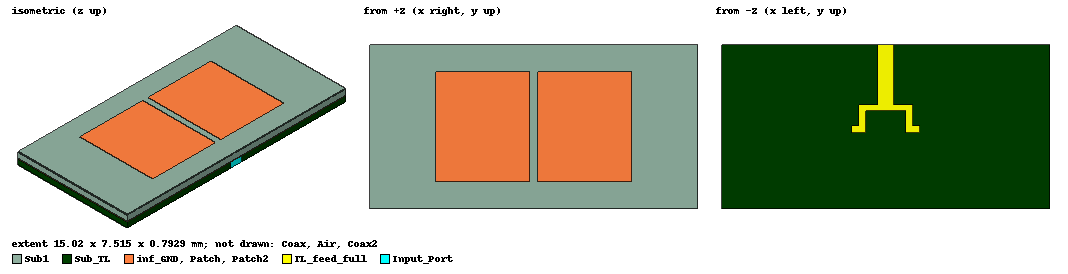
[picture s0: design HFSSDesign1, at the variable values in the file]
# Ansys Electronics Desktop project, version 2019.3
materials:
  vacuum: permittivity=1
  Rogers RT/duroid 5880 (tm): permittivity=2.2 dielectric_loss_tangent=0.0009
  pec: conductivity=1e+30
  Rogers RO4003 (tm): permittivity=3.55 dielectric_loss_tangent=0.0027

design HFSSDesign1 (HFSS, DrivenModal, model units mm)
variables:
  Lp = 4.330571087mm  # optimise 1mm..7mm
  Wp = 5.015234193mm  # optimise 1.4mm..7mm
  hs = 0.39905794mm  # optimise 0.05mm..2mm
  Ws = 7.515215462mm  # optimise 5mm..9mm
  Ls = 15.02233721mm  # optimise 12mm..16mm
  xsub = -Ls/2
  ysub = -Ws/2
  xfeed = 1.232164046mm  # optimise 0.8mm..2mm
  dp = 0.35608297mm  # optimise 0.1mm..2mm
  rcoax = 0.15610762mm  # optimise 0.08mm..0.24mm
  hcoax = 0.39381209mm  # optimise 0.1mm..2mm
  rprope = 0.07mm
  Lair = 0.01+Ls
  Wair = 0.01+Ws
  xair = Lair/2
  yair = Wair/2
  hair = 5mm
  yfeed = -0.10822552mm  # optimise -1.5mm..0.5mm
  xp = dp/2
  yp = -Wp/2
  hgnd = 0.031290997mm  # optimise 0.016mm..0.048mm
  hsubTL = hcoax
  WTLfeed = 0.77435097mm  # optimise 0.1mm..1.5mm
  LTLfeed = 2.742137761mm  # optimise 1.5mm..3.5mm
  LTL_hoz = 2.433481899mm  # optimise 1.5mm..3.5mm
  WTL_In = 0.2797146mm  # optimise 0.1mm..1mm
  Xroax = 2  # optimise 2..5
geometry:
  Sub1 [Rogers RO4003 (tm)] = box(corner=(xsub, ysub, 0mm), size=(Ls, Ws, hs))
  Patch [Rogers RT/duroid 5880 (tm)] = rectangle(corner=(xp, yp, hs), x_size=Lp, y_size=Wp)
  Coax [vacuum] = cylinder(axis=Z, base_centre=(xp+xfeed, yfeed, 0mm), radius=rcoax, height=-hcoax)
  Coax_Pin [pec] = cylinder(axis=Z, base_centre=(xp+xfeed, yfeed, 0mm), radius=rprope, height=-hcoax)
  Prope [pec] = cylinder(axis=Z, base_centre=(xp+xfeed, yfeed, 0mm), radius=rprope, height=hs)
  Air [vacuum] = box(corner=(-xair, -yair, 0), size=(Lair, Wair, hair))
  Patch2 = rectangle(corner=(xp-Lp-dp, yp, hs), x_size=Lp, y_size=Wp)
  Coax2 [vacuum] = cylinder(axis=Z, base_centre=(-(xp+xfeed), yfeed, 0mm), radius=rcoax, height=-hcoax)
  Coax_Pin2 [pec] = cylinder(axis=Z, base_centre=(-(xp+xfeed), yfeed, 0mm), radius=rprope, height=-hcoax)
  Prope2 [pec] = cylinder(axis=Z, base_centre=(-(xp+xfeed), yfeed, 0mm), radius=rprope, height=hs)
  inf_GND [pec] = box(corner=(xsub, ysub, 0mm), size=(Ls, Ws, -hgnd))
  Cylinder_cut_2 = cylinder(axis=Z, base_centre=(-(xp+xfeed), yfeed, 0), radius=rcoax, height=-hgnd)
  Cylinder_cut_1 = cylinder(axis=Z, base_centre=(xp+xfeed, yfeed, 0), radius=rcoax, height=-hgnd)
  inf_GND.subtract(Cylinder_cut_1)
  inf_GND.subtract(Cylinder_cut_2)
  Sub_TL [Rogers RO4003 (tm)] = box(corner=(xsub, ysub, 0mm), size=(Ls, Ws, -hsubTL))
  Input_Port = rectangle(corner=(-WTLfeed/2, Ws/2, -hsubTL), z_size=hsubTL-hgnd, x_size=WTLfeed)
  TL_feed_full = rectangle(corner=(-WTLfeed/2, Ws/2, -hsubTL), x_size=WTLfeed, y_size=-LTLfeed)
  TL_hoz = rectangle(corner=(LTL_hoz/2, Ws/2-LTLfeed, -hsubTL), x_size=-LTL_hoz, y_size=-WTL_In)
  TL1_Ver_Inter = rectangle(corner=(LTL_hoz/2, Ws/2-LTLfeed -WTL_In, -hsubTL), x_size=-WTL_In, y_size=(yfeed-Xroax*rcoax/2)-(Ws/2-LTLfeed -WTL_In-Xroax*rcoax))
  TL2_Ver_Inter = rectangle(corner=(-LTL_hoz/2, Ws/2-LTLfeed -WTL_In, -hsubTL), x_size=WTL_In, y_size=(yfeed-Xroax*rcoax/2)-(Ws/2-LTLfeed -WTL_In-Xroax*rcoax))
  TL1_in_Coax = rectangle(corner=(-(-LTL_hoz/2+WTL_In), yfeed-Xroax*rcoax/2, -hsubTL), x_size=(-LTL_hoz/2+WTL_In)+(xp+xfeed)+Xroax*rcoax/2, y_size=Xroax*rcoax)
  TL_feed_full.unite(TL_hoz)
  TL2_In_Coax = rectangle(corner=(-LTL_hoz/2+WTL_In, yfeed-Xroax*rcoax/2, -hsubTL), x_size=-(-LTL_hoz/2+WTL_In)-(xp+xfeed)-Xroax*rcoax/2, y_size=Xroax*rcoax)
  TL_feed_full.unite(TL1_in_Coax)
  TL_feed_full.unite(TL1_Ver_Inter)
  TL_feed_full.unite(TL2_In_Coax)
  TL_feed_full.unite(TL2_Ver_Inter)
  group Input_feed1 = Coax, Coax_Pin, Prope
  group Input_feed2 = Coax2, Coax_Pin2, Prope2
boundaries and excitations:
  PerfE_Patch: Perfect E Objects=Patch
  Rad1: Radiation Faces=Air.face(+x, +y, -y, -x, +z)
  PerfE1: Perfect E Objects=Patch2
  PerfETL: Perfect E Objects=TL_feed_full
  1: Lumped Port Objects=Input_Port Modes{Mode1{IntLine{middle of Input_Port.edge(z at corner) -> middle of Input_Port.edge(z opposite corner)} CharImp=Zpi RenormImp=50ohm}} Impedance=50ohm
  reference conductors: inf_GND
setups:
  Setup1: HfssDriven Frequency=20GHz MaxDeltaS=0.02 MaximumPasses=18 MinimumPasses=1 MinimumConvergedPasses=1 PercentRefinement=30 BasisOrder=1 PortAccuracy=2
    sweep Sweep: 10GHz to 30GHz step 0.1GHz; Type=Fast SaveFields SaveRadFields GenerateFieldsForAllFreqs
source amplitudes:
  1:1: 1W 0deg
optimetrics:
  OptimizationSetup1: Optimization Optimizer="Quasi Newton" AnalysisStopOptions{StopForNumIteration MaxNumIteration=1000 MinNumIteration=10} CostFuncNormType=L2 Acceptable_Cost=0 Noise=0.0001 UpdateDesignWhenDone
    vary LTL_hoz: Min=1.5mm Max=3.5mm MinStep=0.02432292mm MaxStep=0.2432292mm MinFocus=1.5mm MaxFocus=3.5mm start=2.430367425mm
    vary LTLfeed: Min=1.5mm Max=3.5mm MinStep=0.02728412mm MaxStep=0.2728412mm MinFocus=1.5mm MaxFocus=3.5mm start=2.741436512mm
    vary Lp: Min=1.4mm Max=7mm MinStep=0.0368mm MaxStep=0.368mm MinFocus=1.4mm MaxFocus=7mm start=4.1mm
    vary Ls: Min=12mm Max=16mm MinStep=0.14846mm MaxStep=1.4846mm MinFocus=12mm MaxFocus=16mm start=14.9466269mm
    vary WTL_In: Min=0.1mm Max=1mm MinStep=0.0018mm MaxStep=0.018mm MinFocus=0.1mm MaxFocus=1mm start=0.27356695mm
    vary WTLfeed: Min=0.1mm Max=1.5mm MinStep=0.02mm MaxStep=0.2mm MinFocus=0.1mm MaxFocus=1.5mm start=0.65771145mm
    vary Wp: Min=1mm Max=7mm MinStep=0.0473mm MaxStep=0.473mm MinFocus=1mm MaxFocus=7mm start=4.97mm
    vary Ws: Min=5mm Max=9mm MinStep=0.07406mm MaxStep=0.7406mm MinFocus=5mm MaxFocus=9mm start=7.513757609mm
    vary Xroax: Min=2 Max=5 MinStep=0.02 MaxStep=0.2 MinFocus=2 MaxFocus=5 start=2
    vary dp: Min=0.1mm Max=2mm MinStep=0.0034383443mm MaxStep=0.034383443mm MinFocus=0.1mm MaxFocus=2mm start=0.35597862mm
    vary hcoax: Min=0.1mm Max=2mm MinStep=0.005mm MaxStep=0.05mm MinFocus=0.1mm MaxFocus=2mm start=0.423655274mm
    vary hgnd: Min=0.016mm Max=0.048mm MinStep=0.00032mm MaxStep=0.0032mm MinFocus=0.016mm MaxFocus=0.048mm start=0.032mm
    vary hs: Min=0.05mm Max=2mm MinStep=0.00406mm MaxStep=0.0406mm MinFocus=0.05mm MaxFocus=2mm start=0.406mm
    vary rcoax: Min=0.08mm Max=0.24mm MinStep=0.0016mm MaxStep=0.016mm MinFocus=0.08mm MaxFocus=0.24mm start=0.15786559mm
    vary xfeed: Min=0.8mm Max=2mm MinStep=0.012mm MaxStep=0.12mm MinFocus=0.8mm MaxFocus=2mm start=1.2mm
    vary yfeed: Min=-1.5mm Max=0.5mm MinStep=0.02mm MaxStep=0.2mm MinFocus=-1.5mm MaxFocus=0.5mm start=0mm
    goal dB(S(1,1)) <= -15 weight 1 on Setup1 : Sweep at Freq 20GHz
    goal dB(S(1,1)) >= -15 weight 1 on Setup1 : Sweep at Freq 19GHz
    goal dB(S(1,1)) >= -15 weight 1 on Setup1 : Sweep at Freq 21GHz
    goal mag(Z(1,1)) >= 20 weight 1 on Setup1 : Sweep at Freq 20GHz
    goal mag(Z(1,1)) <= 60 weight 1 on Setup1 : Sweep at Freq 20GHz
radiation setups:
  e_plane: Infinite Sphere Theta=-180deg..180deg step 2deg Phi=0deg..0deg step 1deg
  h_plane: Infinite Sphere Theta=-180deg..180deg step 2deg Phi=90deg..90deg step 1deg
  3d: Infinite Sphere Theta=-180deg..180deg step 2deg Phi=0deg..360deg step 2deg
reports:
  Eradation_pattern: abs(rETotal) vs Theta on Setup1 : LastAdaptive, e_plane [Phi=all Freq=20GHz]
  Hradation_pattern: abs(rETotal) vs Theta on Setup1 : LastAdaptive, h_plane [Phi=all Freq=20GHz]
  Co_X_graph: dB10normalize(GainPhi), dB10normalize(GainTheta) vs Theta on Setup1 : LastAdaptive, e_plane [Phi=0deg Freq=20GHz]
  Gain Plot 1: GainTotal vs Theta on Setup1 : LastAdaptive, e_plane [Phi=all Freq=20GHz]
  Gain Plot 1_1:
  S11_Nominal: dB(S(1,1)) vs Freq on Setup1 : Sweep
  S Parameter Plot 3: dB(S(1,1)) vs Freq on Setup1 : Sweep [Lp=all Wp=all Ws=all Ls=all dp=all rcoax=all hcoax=all WTLfeed=all LTLfeed=all LTL_hoz=all WTL_In=all]; markers MX1 at x=2.1797278e+10
  Zin_nominal: mag(Z(1,1)) vs Freq on Setup1 : Sweep; markers MX1 at x=2.0006743e+10
  Gain Plot 2: mag(GainTotal) vs Phi, Theta on Setup1 : LastAdaptive, 3d [Freq=20GHz]
  S Parameter Plot 4: dB(S(1,1)) vs Freq on Setup1 : Sweep [Lp=all Wp=all hs=all Ws=all Ls=all xfeed=all dp=all rcoax=all hcoax=all yfeed=all hgnd=all WTLfeed=all LTLfeed=all LTL_hoz=all WTL_In=all Xroax=all]; markers MX1 at x=2.1789321e+10
